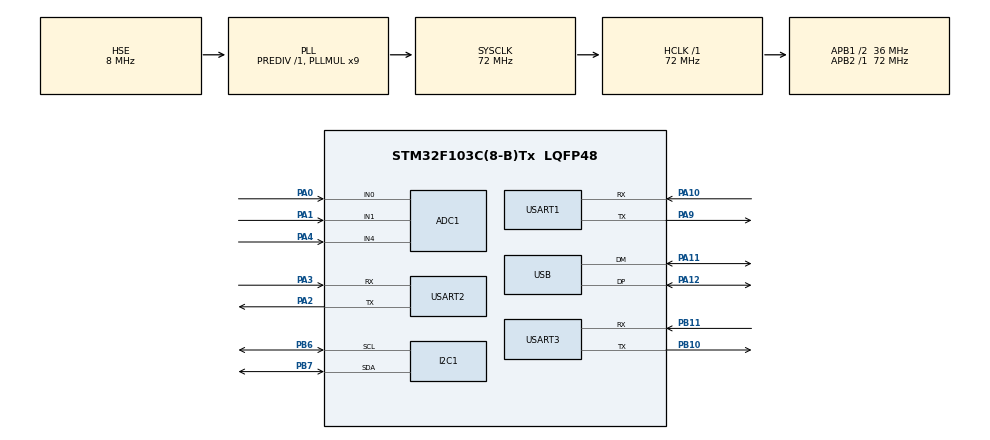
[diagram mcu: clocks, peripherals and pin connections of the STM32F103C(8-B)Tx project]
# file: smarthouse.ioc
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ADC1.Channel-0\#ChannelRegularConversion=ADC_CHANNEL_0
ADC1.NbrOfConversionFlag=1
ADC1.Rank-0\#ChannelRegularConversion=1
ADC1.SamplingTime-0\#ChannelRegularConversion=ADC_SAMPLETIME_1CYCLE_5
ADC1.master=1
Mcu.Family=STM32F1
Mcu.Name=STM32F103C(8-B)Tx
Mcu.Package=LQFP48
NVIC.PriorityGroup=NVIC_PRIORITYGROUP_4
NVIC.TIM2_IRQn=true\:0\:0\:false\:false\:true\:true\:true\:true
NVIC.USB_LP_CAN1_RX0_IRQn=true\:0\:0\:false\:false\:true\:false\:true\:true
PA0-WKUP.Signal=ADCx_IN0
PA1.Signal=ADCx_IN1
PA10.Mode=Asynchronous
PA10.Signal=USART1_RX
PA11.Mode=Device
PA11.Signal=USB_DM
PA12.Mode=Device
PA12.Signal=USB_DP
PA13.Mode=Serial_Wire
PA13.Signal=SYS_JTMS-SWDIO
PA14.Mode=Serial_Wire
PA14.Signal=SYS_JTCK-SWCLK
PA2.Mode=Asynchronous
PA2.Signal=USART2_TX
PA3.Mode=Asynchronous
PA3.Signal=USART2_RX
PA4.Signal=ADCx_IN4
PA9.Mode=Asynchronous
PA9.Signal=USART1_TX
PB10.Mode=Asynchronous
PB10.Signal=USART3_TX
PB11.Mode=Asynchronous
PB11.Signal=USART3_RX
PB12.Signal=EVENTOUT
PB13.Signal=EVENTOUT
PB14.Signal=EVENTOUT
PB15.Signal=EVENTOUT
PB6.Mode=I2C
PB6.Signal=I2C1_SCL
PB7.Mode=I2C
PB7.Signal=I2C1_SDA
PD0-OSC_IN.Mode=HSE-External-Oscillator
PD0-OSC_IN.Signal=RCC_OSC_IN
PD1-OSC_OUT.Mode=HSE-External-Oscillator
PD1-OSC_OUT.Signal=RCC_OSC_OUT
ProjectManager.HeapSize=0x200
ProjectManager.StackSize=0x400
ProjectManager.TargetToolchain=MDK-ARM V5.32
RCC.ADCPresc=RCC_ADCPCLK2_DIV6
RCC.AHBFreq_Value=72000000
RCC.APB1CLKDivider=RCC_HCLK_DIV2
RCC.APB1Freq_Value=36000000
RCC.APB1TimFreq_Value=72000000
RCC.APB2Freq_Value=72000000
RCC.APB2TimFreq_Value=72000000
RCC.HCLKFreq_Value=72000000
RCC.PLLMUL=RCC_PLL_MUL9
RCC.SYSCLKFreq_VALUE=72000000
RCC.SYSCLKSource=RCC_SYSCLKSOURCE_PLLCLK
RCC.USBFreq_Value=48000000
RCC.USBPrescaler=RCC_USBCLKSOURCE_PLL_DIV1_5
SH.ADCx_IN0.0=ADC1_IN0,IN0
SH.ADCx_IN1.0=ADC1_IN1,IN1
SH.ADCx_IN4.0=ADC1_IN4,IN4
USART1.VirtualMode=VM_ASYNC
USART2.VirtualMode=VM_ASYNC
USART3.VirtualMode=VM_ASYNC
USB_DEVICE.CLASS_NAME_FS=CDC
USB_DEVICE.VirtualMode=Cdc
USB_DEVICE.VirtualModeFS=Cdc_FS
VP_TIM2_VS_ClockSourceINT.Mode=Internal
VP_USB_DEVICE_VS_USB_DEVICE_CDC_FS.Mode=CDC_FS
board=custom

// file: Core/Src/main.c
/* USER CODE BEGIN Header */
/**
  ******************************************************************************
  * @file           : main.c
  * @brief          : Main program body
  ******************************************************************************
  * @attention
  *
  * Copyright (c) 2026 STMicroelectronics.
  * All rights reserved.
  *
  * This software is licensed under terms that can be found in the LICENSE file
  * in the root directory of this software component.
  * If no LICENSE file comes with this software, it is provided AS-IS.
  *
  ******************************************************************************
  */
/* USER CODE END Header */
#include "main.h"
#include "adc.h"
#include "i2c.h"
#include "tim.h"
#include "usart.h"
#include "usb_device.h"
#include "gpio.h"

/* USER CODE BEGIN Includes */
#include "esp8266.h"
#include "onenet.h"
#include "oled.h"
#include "debug.h"
#include "button.h"
#include "ui.h"
#include "dht11.h"
#include "hcsr04.h"
#include "bh1750.h"
#include "gps.h"
#include "mpu6050.h"
#include "jw01.h"
#include "param.h"
#include "rc522.h"
#include <string.h>
/* USER CODE END Includes */

/* USER CODE BEGIN PV */
/* ================= 物模型数据 =================
 * 上报属性（每 3 秒）: temperature / humidity / light / waterlevel
 * 接收属性（云端下发）: xxxMax / xxxMin / fanS / lightS / pumpS
 */

/* ---- 传感器数据（上报） ---- */
float temperature = 0.0f;   /* 温度  ℃   */
float humidity    = 0.0f;   /* 湿度  %RH */
float light       = 0.0f;   /* 光照  lux */
float waterlevel  = 0.0f;   /* 水位       */

/* ---- DHT11 实测温湿度（PB1 单总线，单独上报） ---- */
float dhtTemperature = 0.0f;   /* DHT11 温度 ℃  */
float dhtHumidity    = 0.0f;   /* DHT11 湿度 %RH */

/* ---- HC-SR04 超声波测距（TRIG=PB8, ECHO=PB9，单独上报） ---- */
float distance = 0.0f;         /* 距离 cm */

/* ---- BH1750 实测光照（I2C1 与 OLED 共用，单独上报） ---- */
float bhLight = 0.0f;          /* 光照 lx */

/* ---- GY-NEO6MV2 GPS（USART3_RX = PB11，单独上报） ---- */
float gpsLatitude  = 0.0f;     /* 纬度（十进制度，南纬为负） */
float gpsLongitude = 0.0f;     /* 经度（十进制度，西经为负） */
float gpsAltitude  = 0.0f;     /* 海拔 m */
float gpsSats      = 0.0f;     /* 卫星数 */
float gpsSpeed     = 0.0f;     /* 地面速度 km/h */

/* GPS UTC 时间（数值型，方便上报/调试） */
float gpsHour      = 0.0f;     /* 时 0~23 (UTC) */
float gpsMinute    = 0.0f;     /* 分 0~59 (UTC) */
float gpsSecond    = 0.0f;     /* 秒 0~59 (UTC) */

/* ---- JW01 空气质量传感器（USART3，与 GPS 共用，单独上报） ---- */
float jwVal1    = 0.0f;        /* 字段1 = 大端(raw1,raw2) */
float jwVal2    = 0.0f;        /* 字段2 = 大端(raw3,raw4) */

/* ---- MPU6050/6500 姿态角（I2C1 与 OLED/BH1750 共用，单独上报） ---- */
float mpuRoll  = 0.0f;         /* 绕 X 轴 度 */
float mpuPitch = 0.0f;         /* 绕 Y 轴 度 */
float mpuYaw   = 0.0f;         /* 绕 Z 轴 度（会漂移） */

/* ---- RC522 RFID 卡片（软件 SPI：PA15=CS, PA5=SCK, PA7=MOSI, PA6=MISO） ---- */
rc522_card_t g_rfidCard;       /* 最近一次读到的卡片 */
uint8_t      g_rfidPresent = 0;/* 1 = 当前有卡 */
uint8_t      g_rfidUid[4] = {0,0,0,0};

/* ---- 阈值（仅接收，不上报） ---- */
float temperatureMax = 50.0f;
float temperatureMin = 0.0f;
float humidityMax    = 100.0f;
float humidityMin    = 0.0f;
float lightMax       = 1000.0f;
float lightMin       = 0.0f;
float waterlevelMax  = 100.0f;
float waterlevelMin  = 0.0f;

/* ---- 开关状态（仅接收，不上报，0=关 1=开） ---- */
float fanS   = 0.0f;        /* 风扇 */
float lightS = 0.0f;        /* 灯光 */
float pumpS  = 0.0f;        /* 水泵 */

/* debug 控制：1 = 每 3 秒用 ADC 刷新传感器值；0 = 保持 debug 写入的值 */
uint8_t g_adc_enable = 1;

/* USB 设备句柄（用于强制重新枚举） */
extern PCD_HandleTypeDef hpcd_USB_FS;

/**
  * @brief  云端控制量更新后的应用钩子
  * @note   由 OneNet_RevPro() 在解析完下行属性后调用。
  *         在这里把 fanS / lightS / pumpS 或阈值联动的执行器动作落地，
  *         例如驱动继电器、电机等（当前工程未分配输出引脚，先留空）。
  */
void SmartHouse_ApplyControl(void)
{
  /* 云端下发了阈值/开关：阈值以云端为准，直接持久化到本地 Flash。 */
  if (Param_SaveFromVars() == 0)
    UsartPrintf(USART_DEBUG, "[PARAM] thresholds saved to flash\r\n");
  else
    UsartPrintf(USART_DEBUG, "[PARAM] flash save failed\r\n");
}
/* USER CODE END PV */

void SystemClock_Config(void);

int main(void)
{

  /* MCU Configuration--------------------------------------------------------*/

  /* Reset of all peripherals, Initializes the Flash interface and the Systick. */
  HAL_Init();

  /* Configure the system clock */
  SystemClock_Config();

  /* Initialize all configured peripherals */
  MX_GPIO_Init();
  MX_ADC1_Init();
  MX_I2C1_Init();
  MX_TIM2_Init();
  MX_USART1_UART_Init();
  MX_USART2_UART_Init();
  MX_USART3_UART_Init();
  MX_USB_DEVICE_Init();
  /* 强制 USB 重新枚举，避免每次下载程序后必须重新插拔 USB 才能识别虚拟串口。
     F103 无软件上下拉控制（USB_DevConnect/Disconnect 为空函数），
     需直接操作 CNTR：
     断开：PDWN 使 USB 收发器掉电、释放内部 D+ 上拉，主机检测到设备拔出；
     重连：__HAL_PCD_ENABLE 重写 CNTR（清 PDWN/FRES），主机重新枚举 */
  hpcd_USB_FS.Instance->CNTR = USB_CNTR_PDWN | USB_CNTR_FRES;
  HAL_Delay(500);
  __HAL_PCD_ENABLE(&hpcd_USB_FS);
  HAL_Delay(100);
  /* USER CODE BEGIN 2 */
  /* 调试控制台（USB CDC） */
  Debug_Init();

  /* 从 Flash 恢复阈值上下限（上次掉电前保存的） */
  Param_LoadToVars();
  UsartPrintf(USART_DEBUG, "[PARAM] loaded: T[%.1f,%.1f] H[%.1f,%.1f] L[%.1f,%.1f] W[%.1f,%.1f]\r\n",
              temperatureMin, temperatureMax,
              humidityMin, humidityMax,
              lightMin, lightMax,
              waterlevelMin, waterlevelMax);

  /* DHT11 温湿度传感器（PB1 单总线） */
  DHT11_Init();

  /* HC-SR04 超声波测距（TRIG=PB8, ECHO=PB9） */
  HCSR04_Init();

  /* BH1750 光照传感器（I2C1，与 OLED 共用 PB6/PB7） */
  if(BH1750_Init() == 0)
    UsartPrintf(USART_DEBUG, "[BH1750] init ok\r\n");
  else
    UsartPrintf(USART_DEBUG, "[BH1750] init fail, not found on I2C1 (try 'i2cscan')\r\n");

  /* GY-NEO6MV2 GPS（USART3_RX = PB11，中断接收） */
  GPS_Init();

  /* JW01 三合一空气质量传感器（USART3，与 GPS 共用，中断接收） */
  JW01_Init();

  /* RC522 RFID 读卡模块（软件 SPI：PA15=CS, PA5=SCK, PA7=MOSI, PA6=MISO） */

  /* MPU6050/6500 姿态传感器（I2C1，PB6/PB7）
     MPU_Init() 内部已含上电、配置寄存器、读 WHO_AM_I；
     初始化成功后立即做一次陀螺零偏校准（静置约 0.5 秒） */
  if(MPU_Init() == 0)
  {
    UsartPrintf(USART_DEBUG, "[MPU] init ok, WHO_AM_I=0x%02X (0x68=6050, 0x70/71=6500/9250)\r\n",
                (unsigned)MPU_WhoAmI());
    UsartPrintf(USART_DEBUG, "[MPU] calibrating gyro, keep still...\r\n");
    MPU_CalibrateGyro();
    UsartPrintf(USART_DEBUG, "[MPU] gyro calibrated\r\n");
  }
  else
  {
    UsartPrintf(USART_DEBUG, "[MPU] init fail, not found on I2C1 (will retry in loop)\r\n");
  }

  /* 按键（PB12~PB15）+ TIM2 10ms 扫描中断 */
  Button_Init();

  /* 初始化 OLED（I2C1）。若未接 OLED 会自动跳过，不影响主流程 */
  OLED_Init();

  /* UI 状态机：上电显示主菜单 */
  UI_Init();
  UI_Task();

  /* 初始化 ESP8266（USART2） */
  ESP8266_Init();

  /* 建立与 OneNET MQTT 服务器的 TCP 连接（新版物联网平台） */
  while(ESP8266_SendCmd("AT+CIPSTART=\"TCP\",\"mqtts.heclouds.com\",1883\r\n", "CONNECT"))
    HAL_Delay(500);

  /* 连接 OneNET 平台并订阅属性设置 */
  while(OneNet_DevLink())
    HAL_Delay(500);
  OneNET_Subscribe();
  /* USER CODE END 2 */
	if(RC522_Init() == 0)
  {
    uint8_t ver;
    /* 版本寄存器已在 Init 里读过，这里再打一遍方便确认接线 */
    UsartPrintf(USART_DEBUG, "[RC522] init ok\r\n");
    (void)ver;
  }
  else
  {
    UsartPrintf(USART_DEBUG, "[RC522] init fail (check CS=PA15 SCK=PA5 MOSI=PA7 MISO=PA6)\r\n");
  }
  /* Infinite loop */
  while (1)
  {

    /* USER CODE BEGIN 3 */
    {
      static uint32_t last_adc = 0;
      static uint32_t last_dht = 0;
      static uint32_t last_ultr = 0;
      static uint32_t last_bh = 0;
      static uint32_t last_gps = 0;
      static uint32_t last_jw01 = 0;
      static uint32_t last_mpu = 0;
      static uint32_t last_rfid = 0;
      static uint32_t last_report = 0;
      static uint32_t last_hb = 0;
      uint32_t now = HAL_GetTick();

      /* 1. 轮询云端下行命令（属性设置），收到即解析并更新对应变量。
       *    ESP8266_GetIPD 内部超时约 50ms，无数据时不会长时间阻塞。 */
      OneNet_RevPro_Poll();

      /* 1b. USB 调试控制台：解析 read/write/press 等命令，并处理按键自动松开 */
      Debug_Task();

      /* 2. 每 200ms 采集一次 ADC（映射为 0~100），并记录一个曲线点 */
      if((now - last_adc) >= 200u)
      {
        last_adc = now;

        /* 4 路 ADC -> 温度/光照/湿度/水位（0~100）；调试可用 adc off 冻结 */
        if(g_adc_enable)
        {
          ADC_ReadSensors(&temperature, &light, &humidity, &waterlevel);
        }

        /* 记录曲线历史样本（200ms 一个点） */
        UI_PushSample(temperature, humidity, light, waterlevel);
      }

      /* 2b. 每 2 秒读一次 DHT11 温湿度（DHT11 采样周期需 >= 1s） */
      if((now - last_dht) >= 2000u)
      {
        last_dht = now;

        float t = 0.0f, h = 0.0f;
        uint8_t rc = DHT11_Read(&t, &h);
        if(rc == 0)
        {
          dhtTemperature = t;
          dhtHumidity    = h;
          {
            uint8_t raw[5];
            DHT11_GetRaw(raw);
            UsartPrintf(USART_DEBUG, "[DHT11] T=%.1f H=%.1f raw=%02X %02X %02X %02X %02X\r\n",
                        t, h, raw[0], raw[1], raw[2], raw[3], raw[4]);
          }
        }
        else
        {
          /* rc: 1=无响应 2=响应低超时 3=响应高超时 4=读bit超时 5=校验错 */
          uint8_t raw[5];
          DHT11_GetRaw(raw);
          UsartPrintf(USART_DEBUG, "[DHT11] read fail, rc=%u raw=%02X %02X %02X %02X %02X\r\n",
                      rc, raw[0], raw[1], raw[2], raw[3], raw[4]);
        }
      }

      /* 2c. 每 200ms 测一次超声波距离（HC-SR04 间隔需 >= 60ms） */
      if((now - last_ultr) >= 200u)
      {
        last_ultr = now;

        float d = 0.0f;
        uint8_t rc = HCSR04_Read(&d);
        if(rc == 0)
        {
          distance = d;
          UsartPrintf(USART_DEBUG, "[SR04] distance=%.1f cm\r\n", d);
        }
        else
        {
          /* rc: 1=ECHO无响应 2=ECHO超时 */
          UsartPrintf(USART_DEBUG, "[SR04] read fail, rc=%u\r\n", rc);
        }
      }

      /* 2d. 每 500ms 读一次 BH1750 光照（转换约 120ms，间隔需 >= 180ms） */
      if((now - last_bh) >= 500u)
      {
        last_bh = now;

        float lx = 0.0f;

        /* 掉线/首次探测失败时周期性重试，避免永久离线 */
        if(!BH1750_IsReady())
        {
          if(BH1750_ReInit() != 0)
          {
            UsartPrintf(USART_DEBUG, "[BH1750] still not found (use 'i2cscan')\r\n");
            goto bh_done;
          }
          UsartPrintf(USART_DEBUG, "[BH1750] online\r\n");
        }

        if(BH1750_Read(&lx) == 0)
        {
          bhLight = lx;
          UsartPrintf(USART_DEBUG, "[BH1750] light=%.0f lx\r\n", lx);
        }
        else
        {
          UsartPrintf(USART_DEBUG, "[BH1750] read fail (will retry)\r\n");
        }

      bh_done:;
      }

      /* 2e. 每 1 秒读一次 GPS 定位数据（NMEA 在中断里解析） */
      if((now - last_gps) >= 1000u)
      {
        last_gps = now;

        gps_data_t g;
        GPS_GetData(&g);
        if(g.valid)
        {
          gpsLatitude  = (float)g.latitude  / GPS_COORD_SCALE;
          gpsLongitude = (float)g.longitude / GPS_COORD_SCALE;
          gpsAltitude  = (float)g.altitude_dm / GPS_ALT_SCALE;
          gpsSats      = (float)g.sats;
          /* 速度：1 节 = 1.852 km/h；speed_cs 是 0.01 节 */
          gpsSpeed     = (float)g.speed_cs * 0.01f * 1.852f;

          gpsHour      = (float)g.hour;
          gpsMinute    = (float)g.minute;
          gpsSecond    = (float)g.second;

          /* UTC 时间 + 8h = 北京时间（跨日则 +1 天，仅用于显示） */
          {
            unsigned bh = g.hour + 8u;
            unsigned bday = g.day;
            if (bh >= 24u) { bh -= 24u; bday += 1u; }

            UsartPrintf(USART_DEBUG,
                        "[GPS] %.6f, %.6f alt=%.1fm sats=%u spd=%.1fkm/h\r\n",
                        gpsLatitude, gpsLongitude, gpsAltitude,
                        (unsigned)g.sats, gpsSpeed);
            UsartPrintf(USART_DEBUG,
                        "[GPS] 20%02u-%02u-%02u %02u:%02u:%02u UTC\r\n",
                        (unsigned)g.year, (unsigned)g.month, (unsigned)g.day,
                        (unsigned)g.hour, (unsigned)g.minute, (unsigned)g.second);
            UsartPrintf(USART_DEBUG,
                        "[GPS] CST %02u:%02u:%02u (UTC+8, date %02u-%02u)\r\n",
                        bh, (unsigned)g.minute, (unsigned)g.second,
                        (unsigned)g.month, bday);
          }
        }
        else if(g.updated)
        {
          UsartPrintf(USART_DEBUG, "[GPS] no fix (sats=%u)\r\n", (unsigned)g.sats);
        }
      }

      /* 2e-2. 每 1 秒读一次 JW01 空气质量（6 字节 0x2C 帧），
              与 GPS 共用 USART3，二进制帧在中断里解析 */
      if((now - last_jw01) >= 1000u)
      {
        last_jw01 = now;

        jw01_data_t j;
        JW01_GetData(&j);
        if(j.valid)
        {
          jwVal1 = (float)j.val1;
          jwVal2 = (float)j.val2;

          /* 原始帧 + 4 个数据字节 + 两种 16 位拆法，方便对照手册 */
          UsartPrintf(USART_DEBUG,
                      "[JW01] raw=%02X %02X %02X %02X %02X %02X\r\n",
                      j.raw[0], j.raw[1], j.raw[2], j.raw[3], j.raw[4], j.raw[5]);
          UsartPrintf(USART_DEBUG,
                      "[JW01] d0=%u d1=%u d2=%u d3=%u | val1=%u val2=%u | ck=%02X/%02X\r\n",
                      (unsigned)j.data[0], (unsigned)j.data[1],
                      (unsigned)j.data[2], (unsigned)j.data[3],
                      (unsigned)j.val1, (unsigned)j.val2,
                      j.checksum_rx, j.checksum_calc);
        }
        else if(j.frames_err)
        {
          UsartPrintf(USART_DEBUG, "[JW01] checksum fail (err=%lu)\r\n",
                      (unsigned long)j.frames_err);
        }
      }

      /* 2f. 每 100ms 读一次 MPU6050/6500 并做姿态解算，持续上报 */
      if((now - last_mpu) >= 100u)
      {
        uint16_t dt = (uint16_t)(now - last_mpu);
        last_mpu = now;

        /* 掉线时自动重试：重连成功后重新校准一次 */
        if(!MPU_IsReady())
        {
          if(MPU_ReInit() != 0)
            goto mpu_done;
          UsartPrintf(USART_DEBUG, "[MPU] re-init ok, WHO_AM_I=0x%02X\r\n",
                      (unsigned)MPU_WhoAmI());
          MPU_CalibrateGyro();
        }

        if(MPU_Update(dt) == 0)
        {
          mpu_data_t m;
          MPU_GetData(&m);
          mpuRoll  = m.roll;
          mpuPitch = m.pitch;
          mpuYaw   = m.yaw;

          /* 每 1 秒打印一次姿态角（方便看趋势） */
          {
            static uint32_t last_mpu_log = 0;
            if((now - last_mpu_log) >= 1000u)
            {
              last_mpu_log = now;
              UsartPrintf(USART_DEBUG, "[MPU] roll=%.1f pitch=%.1f yaw=%.1f (T=%.1fC)\r\n",
                          mpuRoll, mpuPitch, mpuYaw, m.temperature);
            }
          }
        }

      mpu_done:;
      }

      /* 2g. 每 300ms 寻一次 RFID 卡：
             只有检测到卡时打印 UID；无卡时什么都不打印（完全静默） */
      if((now - last_rfid) >= 300u)
      {
        last_rfid = now;

        rc522_card_t c;
        uint8_t rc = RC522_ReadCard(&c);
        if(rc == 0)
        {
          /* 检测到卡：打印 UID */
          UsartPrintf(USART_DEBUG, "[RFID] card UID=%02X%02X%02X%02X\r\n",
                      c.uid[0], c.uid[1], c.uid[2], c.uid[3]);

          memcpy(g_rfidUid, c.uid, 4);
          g_rfidCard    = c;
          g_rfidPresent = 1;

          RC522_Halt();          /* 读完后休眠，避免同一张卡重复触发 */
        }
        else
        {
          /* 无卡：不打印任何东西，只清标志 */
          g_rfidPresent = 0;

          /* 调试：每秒最多打印一次失败原因（rc: 2=超时/无卡 3=错误 4/5/6=数据异常） */
          {
            static uint32_t last_rfid_log = 0;
            if((now - last_rfid_log) >= 1000u)
            {
              last_rfid_log = now;
              UsartPrintf(USART_DEBUG, "[RFID] no card (rc=%u)\r\n", rc);
            }
          }
        }
      }

      /* 2h. 每 3 秒把当前值上报到 OneNET */
      if((now - last_report) >= 3000u)
      {
        last_report = now;

        UsartPrintf(USART_DEBUG, "[ADC] T=%.1f L=%.1f H=%.1f W=%.1f\r\n",
                    temperature, light, humidity, waterlevel);

        OneNet_SendData();
      }

      /* 3. UI：处理按键事件 + 刷新显示 */
      UI_Task();

      /* 4. 每秒一次心跳，确保能看出主循环是否还在跑 */
      if((now - last_hb) >= 1000u)
      {
        last_hb = now;
        UsartPrintf(USART_DEBUG, "[Heartbeat] %lu s\r\n", (unsigned long)(now / 1000u));
      }

      HAL_Delay(100);
    }
  }
  /* USER CODE END 3 */
}

void SystemClock_Config(void)
{
  RCC_OscInitTypeDef RCC_OscInitStruct = {0};
  RCC_ClkInitTypeDef RCC_ClkInitStruct = {0};
  RCC_PeriphCLKInitTypeDef PeriphClkInit = {0};

  /** Initializes the RCC Oscillators according to the specified parameters
  * in the RCC_OscInitTypeDef structure.
  */
  RCC_OscInitStruct.OscillatorType = RCC_OSCILLATORTYPE_HSE;
  RCC_OscInitStruct.HSEState = RCC_HSE_ON;
  RCC_OscInitStruct.HSEPredivValue = RCC_HSE_PREDIV_DIV1;
  RCC_OscInitStruct.HSIState = RCC_HSI_ON;
  RCC_OscInitStruct.PLL.PLLState = RCC_PLL_ON;
  RCC_OscInitStruct.PLL.PLLSource = RCC_PLLSOURCE_HSE;
  RCC_OscInitStruct.PLL.PLLMUL = RCC_PLL_MUL9;
  if (HAL_RCC_OscConfig(&RCC_OscInitStruct) != HAL_OK)
  {
    Error_Handler();
  }

  /** Initializes the CPU, AHB and APB buses clocks
  */
  RCC_ClkInitStruct.ClockType = RCC_CLOCKTYPE_HCLK|RCC_CLOCKTYPE_SYSCLK
                              |RCC_CLOCKTYPE_PCLK1|RCC_CLOCKTYPE_PCLK2;
  RCC_ClkInitStruct.SYSCLKSource = RCC_SYSCLKSOURCE_PLLCLK;
  RCC_ClkInitStruct.AHBCLKDivider = RCC_SYSCLK_DIV1;
  RCC_ClkInitStruct.APB1CLKDivider = RCC_HCLK_DIV2;
  RCC_ClkInitStruct.APB2CLKDivider = RCC_HCLK_DIV1;

  if (HAL_RCC_ClockConfig(&RCC_ClkInitStruct, FLASH_LATENCY_2) != HAL_OK)
  {
    Error_Handler();
  }
  PeriphClkInit.PeriphClockSelection = RCC_PERIPHCLK_ADC|RCC_PERIPHCLK_USB;
  PeriphClkInit.AdcClockSelection = RCC_ADCPCLK2_DIV6;
  PeriphClkInit.UsbClockSelection = RCC_USBCLKSOURCE_PLL_DIV1_5;
  if (HAL_RCCEx_PeriphCLKConfig(&PeriphClkInit) != HAL_OK)
  {
    Error_Handler();
  }
}

void Error_Handler(void)
{
  __disable_irq();
  while (1)
  {
  }
}
